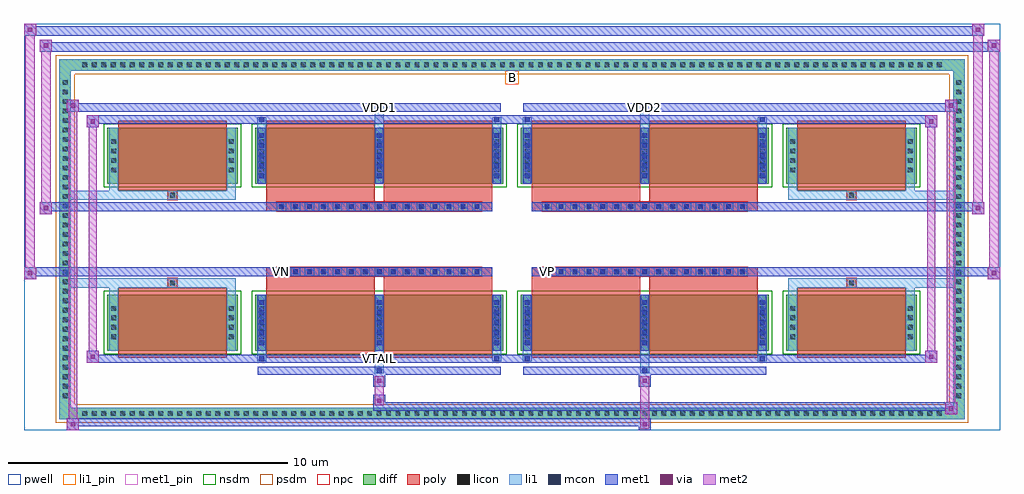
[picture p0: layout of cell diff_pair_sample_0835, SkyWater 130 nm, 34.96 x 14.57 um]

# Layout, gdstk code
import gdstk
lib = gdstk.Library(unit=1e-6, precision=5e-09)
def R(c, l, rs):  # rectangles x0, y0, x1, y1
    for r in rs: c.add(gdstk.rectangle(r[:2], r[2:], *l))
def A(c, l, x, y, w, h, nx, ny, dx, dy):  # array of equal rectangles
    R(c, l, [(x+i*dx, y+j*dy, x+i*dx+w, y+j*dy+h) for i in range(nx) for j in range(ny)])
def P(c, l, *ps):  # polygons
    for p in ps: c.add(gdstk.Polygon(p, *l))
pwell = (64, 44)
diff = (65, 20)
poly = (66, 20)
licon = (66, 44)
li1_pin = (67, 16)
li1 = (67, 20)
mcon = (67, 44)
met1_pin = (68, 16)
met1 = (68, 20)
via = (68, 44)
met2 = (69, 20)
nsdm = (93, 44)
psdm = (94, 20)
npc = (95, 20)

diff_pair_sample_0835 = lib.new_cell('diff_pair_sample_0835')
R(diff_pair_sample_0835, pwell, [(-17.48,-6.85,17.48,7.72), (-14.8,-5.04,-0.01,-0.8), (0.01,-5.04,14.8,-0.8), (-14.8,0.8,-0.01,5.04), (0.01,0.8,14.8,5.04)])
A(diff_pair_sample_0835, diff, -15.505, -6.45, 0.41, 0.41, 91, 2, 0.34, 12.49)
A(diff_pair_sample_0835, diff, -16.21, -5.815, 0.41, 0.41, 1, 34, 0, 0.34)
A(diff_pair_sample_0835, diff, 15.8, -5.815, 0.41, 0.41, 1, 34, 0, 0.34)
R(diff_pair_sample_0835, diff, [(-15.505,-6.45,15.505,-6.04), (-16.21,-5.815,-15.8,5.815), (15.8,-5.815,16.21,5.815), (-14.49,-3.995,-9.83,-1.985), (-9.19,-3.995,-0.32,-1.985), (0.32,-3.995,9.19,-1.985), (9.83,-3.995,14.49,-1.985), (-14.49,1.985,-9.83,3.995), (-9.19,1.985,-0.32,3.995), (0.32,1.985,9.19,3.995), (9.83,1.985,14.49,3.995), (-15.505,6.04,15.505,6.45)])
P(diff_pair_sample_0835, diff, [(16.21,6.45),(-16.21,6.45),(-16.21,-6.04),(-15.8,-6.04),(-15.8,6.04),(15.8,6.04),(15.8,-6.04),(-15.8,-6.04),(-16.21,-6.04),(-16.21,-6.45),(16.21,-6.45)])
A(diff_pair_sample_0835, poly, -8.42, -1.33, 0.33, 0.33, 15, 2, 0.5, 2.33)
A(diff_pair_sample_0835, poly, 1.09, -1.33, 0.33, 0.33, 15, 2, 0.5, 2.33)
R(diff_pair_sample_0835, poly, [(-14.1,-4.245,-10.22,-1.735), (-8.8,-4.245,-4.92,-1.735), (-4.59,-4.245,-0.71,-1.735), (0.71,-4.245,4.59,-1.735), (4.92,-4.245,8.8,-1.735), (10.22,-4.245,14.1,-1.735), (-12.325,-1.735,-11.995,-1.405), (-12.325,-1.735,-11.995,-1.405), (-8.8,-1.735,-4.92,-1.33), (-4.59,-1.735,-0.71,-1.33), (0.71,-1.735,4.59,-1.33), (4.92,-1.735,8.8,-1.33), (11.995,-1.735,12.325,-1.405), (11.995,-1.735,12.325,-1.405), (-8.8,-1.33,-0.71,-1), (0.71,-1.33,8.8,-1), (-8.8,1,-0.71,1.33), (0.71,1,8.8,1.33), (-8.8,1.33,-4.92,1.735), (-4.59,1.33,-0.71,1.735), (0.71,1.33,4.59,1.735), (4.92,1.33,8.8,1.735), (-12.325,1.405,-11.995,1.735), (-12.325,1.405,-11.995,1.735), (11.995,1.405,12.325,1.735), (11.995,1.405,12.325,1.735), (-14.1,1.735,-10.22,4.245), (-8.8,1.735,-4.92,4.245), (-4.59,1.735,-0.71,4.245), (0.71,1.735,4.59,4.245), (4.92,1.735,8.8,4.245), (10.22,1.735,14.1,4.245)])
A(diff_pair_sample_0835, licon, -15.385, -6.33, 0.17, 0.17, 91, 2, 0.34, 12.49)
A(diff_pair_sample_0835, licon, -16.09, -5.695, 0.17, 0.17, 1, 34, 0, 0.34)
A(diff_pair_sample_0835, licon, 15.92, -5.695, 0.17, 0.17, 1, 34, 0, 0.34)
A(diff_pair_sample_0835, licon, -14.35, -3.585, 0.17, 0.17, 1, 4, 0, 0.34)
A(diff_pair_sample_0835, licon, -10.14, -3.585, 0.17, 0.17, 1, 4, 0, 0.34)
A(diff_pair_sample_0835, licon, -9.05, -3.585, 0.17, 0.17, 3, 4, 4.21, 0.34)
A(diff_pair_sample_0835, licon, 0.46, -3.585, 0.17, 0.17, 3, 4, 4.21, 0.34)
A(diff_pair_sample_0835, licon, 9.97, -3.585, 0.17, 0.17, 1, 4, 0, 0.34)
A(diff_pair_sample_0835, licon, 14.18, -3.585, 0.17, 0.17, 1, 4, 0, 0.34)
A(diff_pair_sample_0835, licon, -8.34, -1.25, 0.17, 0.17, 15, 2, 0.5, 2.33)
A(diff_pair_sample_0835, licon, 1.17, -1.25, 0.17, 0.17, 15, 2, 0.5, 2.33)
A(diff_pair_sample_0835, licon, -14.35, 2.395, 0.17, 0.17, 1, 4, 0, 0.34)
A(diff_pair_sample_0835, licon, -10.14, 2.395, 0.17, 0.17, 1, 4, 0, 0.34)
A(diff_pair_sample_0835, licon, -9.05, 2.395, 0.17, 0.17, 3, 4, 4.21, 0.34)
A(diff_pair_sample_0835, licon, 0.46, 2.395, 0.17, 0.17, 3, 4, 4.21, 0.34)
A(diff_pair_sample_0835, licon, 9.97, 2.395, 0.17, 0.17, 1, 4, 0, 0.34)
A(diff_pair_sample_0835, licon, 14.18, 2.395, 0.17, 0.17, 1, 4, 0, 0.34)
R(diff_pair_sample_0835, licon, [(-12.245,-1.655,-12.075,-1.485), (12.075,-1.655,12.245,-1.485), (-12.245,1.485,-12.075,1.655), (12.075,1.485,12.245,1.655)])
R(diff_pair_sample_0835, li1_pin, [(-0.25,5.54,0.25,6.04)])
A(diff_pair_sample_0835, li1, -15.465, -6.41, 0.33, 0.33, 91, 2, 0.34, 12.49)
A(diff_pair_sample_0835, li1, -16.17, -5.775, 0.33, 0.33, 1, 34, 0, 0.34)
A(diff_pair_sample_0835, li1, 15.84, -5.775, 0.33, 0.33, 1, 34, 0, 0.34)
A(diff_pair_sample_0835, li1, -9.13, -3.995, 0.33, 2.01, 3, 2, 4.21, 5.98)
A(diff_pair_sample_0835, li1, 0.38, -3.995, 0.33, 2.01, 3, 2, 4.21, 5.98)
A(diff_pair_sample_0835, li1, -9.05, -3.795, 0.17, 0.17, 3, 5, 4.21, 0.36)
A(diff_pair_sample_0835, li1, -9.05, -3.795, 0.17, 1.61, 3, 2, 4.21, 5.98)
A(diff_pair_sample_0835, li1, 0.46, -3.795, 0.17, 0.17, 3, 5, 4.21, 0.36)
A(diff_pair_sample_0835, li1, 0.46, -3.795, 0.17, 1.61, 3, 2, 4.21, 5.98)
A(diff_pair_sample_0835, li1, -14.43, -3.665, 0.33, 0.33, 1, 4, 0, 0.34)
A(diff_pair_sample_0835, li1, -10.22, -3.665, 0.33, 0.33, 1, 4, 0, 0.34)
A(diff_pair_sample_0835, li1, -9.13, -3.665, 0.33, 0.33, 3, 4, 4.21, 0.34)
A(diff_pair_sample_0835, li1, 0.38, -3.665, 0.33, 0.33, 3, 4, 4.21, 0.34)
A(diff_pair_sample_0835, li1, 9.89, -3.665, 0.33, 0.33, 1, 4, 0, 0.34)
A(diff_pair_sample_0835, li1, 14.1, -3.665, 0.33, 0.33, 1, 4, 0, 0.34)
A(diff_pair_sample_0835, li1, -8.42, -1.33, 0.33, 0.33, 15, 2, 0.5, 2.33)
A(diff_pair_sample_0835, li1, 1.09, -1.33, 0.33, 0.33, 15, 2, 0.5, 2.33)
A(diff_pair_sample_0835, li1, -9.05, 2.185, 0.17, 0.17, 3, 5, 4.21, 0.36)
A(diff_pair_sample_0835, li1, 0.46, 2.185, 0.17, 0.17, 3, 5, 4.21, 0.36)
A(diff_pair_sample_0835, li1, -14.43, 2.315, 0.33, 0.33, 1, 4, 0, 0.34)
A(diff_pair_sample_0835, li1, -10.22, 2.315, 0.33, 0.33, 1, 4, 0, 0.34)
A(diff_pair_sample_0835, li1, -9.13, 2.315, 0.33, 0.33, 3, 4, 4.21, 0.34)
A(diff_pair_sample_0835, li1, 0.38, 2.315, 0.33, 0.33, 3, 4, 4.21, 0.34)
A(diff_pair_sample_0835, li1, 9.89, 2.315, 0.33, 0.33, 1, 4, 0, 0.34)
A(diff_pair_sample_0835, li1, 14.1, 2.315, 0.33, 0.33, 1, 4, 0, 0.34)
R(diff_pair_sample_0835, li1, [(-16.21,-6.45,-15.8,-6.04), (-16.21,-6.45,-15.8,-6.04), (-15.8,-6.45,15.8,-6.04), (15.8,-6.45,16.21,-6.04), (15.8,-6.45,16.21,-6.04), (-16.21,-6.04,-15.8,6.04), (15.8,-6.04,16.21,6.04), (-4.92,-4.8,-4.59,-3.995), (-4.84,-4.8,-4.67,-4.63), (4.59,-4.8,4.92,-3.995), (4.67,-4.8,4.84,-4.63), (-9.13,-4.37,-8.8,-3.995), (-9.05,-4.37,-8.88,-4.2), (-0.71,-4.37,-0.38,-3.995), (-0.63,-4.37,-0.46,-4.2), (0.38,-4.37,0.71,-3.995), (0.46,-4.37,0.63,-4.2), (8.8,-4.37,9.13,-3.995), (8.88,-4.37,9.05,-4.2), (-14.43,-3.995,-14.1,-1.985), (-10.22,-3.995,-9.89,-1.985), (9.89,-3.995,10.22,-1.985), (14.1,-3.995,14.43,-1.985), (-14.43,-1.985,-14.1,-1.405), (-10.22,-1.985,-9.89,-1.405), (9.89,-1.985,10.22,-1.405), (14.1,-1.985,14.43,-1.405), (-16.21,-1.735,-12.325,-1.405), (-14.43,-1.735,-12.325,-1.405), (-12.325,-1.735,-11.995,-1.405), (-11.995,-1.735,-9.89,-1.405), (9.89,-1.735,11.995,-1.405), (11.995,-1.735,12.325,-1.405), (11.995,-1.735,16.21,-1.405), (12.325,-1.735,14.43,-1.405), (-16.21,1.405,-12.325,1.735), (-14.43,1.405,-12.325,1.735), (-14.43,1.405,-14.1,1.985), (-12.325,1.405,-11.995,1.735), (-11.995,1.405,-9.89,1.735), (-10.22,1.405,-9.89,1.985), (9.89,1.405,11.995,1.735), (9.89,1.405,10.22,1.985), (11.995,1.405,12.325,1.735), (11.995,1.405,16.21,1.735), (12.325,1.405,14.43,1.735), (14.1,1.405,14.43,1.985), (-14.43,1.985,-14.1,3.995), (-10.22,1.985,-9.89,3.995), (9.89,1.985,10.22,3.995), (14.1,1.985,14.43,3.995), (-9.13,3.995,-8.8,4.37), (-4.92,3.995,-4.59,4.8), (-0.71,3.995,-0.38,4.37), (0.38,3.995,0.71,4.37), (4.59,3.995,4.92,4.8), (8.8,3.995,9.13,4.37), (-9.05,4.2,-8.88,4.37), (-0.63,4.2,-0.46,4.37), (0.46,4.2,0.63,4.37), (8.88,4.2,9.05,4.37), (-4.84,4.63,-4.67,4.8), (4.67,4.63,4.84,4.8), (-16.21,6.04,-15.8,6.45), (-16.21,6.04,-15.8,6.45), (-15.8,6.04,15.8,6.45), (15.8,6.04,16.21,6.45), (15.8,6.04,16.21,6.45)])
A(diff_pair_sample_0835, mcon, -9.05, -3.795, 0.17, 0.17, 3, 5, 4.21, 0.36)
A(diff_pair_sample_0835, mcon, 0.46, -3.795, 0.17, 0.17, 3, 5, 4.21, 0.36)
A(diff_pair_sample_0835, mcon, -8.34, -1.25, 0.17, 0.17, 15, 2, 0.5, 2.33)
A(diff_pair_sample_0835, mcon, 1.17, -1.25, 0.17, 0.17, 15, 2, 0.5, 2.33)
A(diff_pair_sample_0835, mcon, -9.05, 2.185, 0.17, 0.17, 3, 5, 4.21, 0.36)
A(diff_pair_sample_0835, mcon, 0.46, 2.185, 0.17, 0.17, 3, 5, 4.21, 0.36)
R(diff_pair_sample_0835, mcon, [(-4.84,-4.8,-4.67,-4.63), (4.67,-4.8,4.84,-4.63), (-9.05,-4.37,-8.88,-4.2), (-0.63,-4.37,-0.46,-4.2), (0.46,-4.37,0.63,-4.2), (8.88,-4.37,9.05,-4.2), (-9.05,4.2,-8.88,4.37), (-0.63,4.2,-0.46,4.37), (0.46,4.2,0.63,4.37), (8.88,4.2,9.05,4.37), (-4.84,4.63,-4.67,4.8), (4.67,4.63,4.84,4.8)])
R(diff_pair_sample_0835, met1_pin, [(-4.89,-4.41,-4.62,-4.14), (-8.39,-1.29,-8.12,-1.02), (1.12,-1.29,1.39,-1.02), (-4.89,4.59,-4.62,4.86), (4.62,4.59,4.89,4.86)])
A(diff_pair_sample_0835, met1, -9.11, -3.995, 0.29, 2.01, 3, 2, 4.21, 5.98)
A(diff_pair_sample_0835, met1, 0.4, -3.995, 0.29, 2.01, 3, 2, 4.21, 5.98)
A(diff_pair_sample_0835, met1, -9.11, -3.855, 0.29, 0.29, 3, 5, 4.21, 0.36)
A(diff_pair_sample_0835, met1, 0.4, -3.855, 0.29, 0.29, 3, 5, 4.21, 0.36)
A(diff_pair_sample_0835, met1, -8.4, -1.31, 0.29, 0.29, 15, 2, 0.5, 2.33)
A(diff_pair_sample_0835, met1, 1.11, -1.31, 0.29, 0.29, 15, 2, 0.5, 2.33)
A(diff_pair_sample_0835, met1, -9.11, 2.125, 0.29, 0.29, 3, 5, 4.21, 0.36)
A(diff_pair_sample_0835, met1, 0.4, 2.125, 0.29, 0.29, 3, 5, 4.21, 0.36)
R(diff_pair_sample_0835, met1, [(-15.94,-6.85,-15.51,-6.42), (4.54,-6.85,4.97,-6.42), (-15.94,-6.71,4.97,-6.42), (15.51,-6.28,15.94,-5.85), (-4.97,-6.14,15.94,-5.85), (-4.97,-6,-4.54,-5.57), (-4.97,-5.29,-4.54,-4.86), (4.54,-5.29,4.97,-4.86), (-9.11,-4.86,-0.4,-4.57), (-4.9,-4.86,-4.61,-4.57), (0.4,-4.86,9.11,-4.57), (4.61,-4.86,4.9,-4.57), (-15.23,-4.43,-14.8,-4), (-15.23,-4.43,-9.11,-4.14), (-9.11,-4.43,-8.82,-4.14), (-9.11,-4.43,-0.4,-4.14), (-0.69,-4.43,-0.4,-4.14), (-0.4,-4.43,0.4,-4.14), (0.4,-4.43,0.69,-4.14), (0.4,-4.43,9.11,-4.14), (8.82,-4.43,9.11,-4.14), (9.11,-4.43,15.23,-4.14), (14.8,-4.43,15.23,-4), (-17.48,-1.43,-17.05,-1), (17.05,-1.43,17.48,-1), (-17.48,-1.33,-0.71,-1), (-8.8,-1.33,-0.71,-1), (0.71,-1.33,8.8,-1), (0.71,-1.33,17.48,-1), (-16.91,0.9,-16.48,1.33), (16.48,0.9,16.91,1.33), (-16.91,1,-8.8,1.33), (-8.8,1,-0.71,1.33), (0.71,1,8.8,1.33), (8.8,1,16.91,1.33), (-15.23,4,-14.8,4.43), (14.8,4,15.23,4.43), (-15.23,4.14,-9.11,4.43), (-9.11,4.14,-8.82,4.43), (-9.11,4.14,-0.4,4.43), (-0.69,4.14,-0.4,4.43), (-0.4,4.14,0.4,4.43), (0.4,4.14,0.69,4.43), (0.4,4.14,9.11,4.43), (8.82,4.14,9.11,4.43), (9.11,4.14,15.23,4.43), (-15.94,4.57,-15.51,5), (-15.94,4.57,-9.11,4.86), (-9.11,4.57,-0.4,4.86), (-4.9,4.57,-4.61,4.86), (0.4,4.57,9.11,4.86), (4.61,4.57,4.9,4.86), (9.11,4.57,15.94,4.86), (15.51,4.57,15.94,5), (-16.91,6.72,-16.48,7.15), (-16.91,6.72,-14.8,7.05), (-14.8,6.72,14.8,7.05), (14.8,6.72,17.48,7.05), (17.05,6.72,17.48,7.15), (-17.48,7.29,-17.05,7.72), (-17.48,7.29,-14.8,7.62), (-14.8,7.29,14.8,7.62), (14.8,7.29,16.91,7.62), (16.48,7.29,16.91,7.72)])
R(diff_pair_sample_0835, via, [(-15.8,-6.71,-15.65,-6.56), (4.68,-6.71,4.83,-6.56), (15.65,-6.14,15.8,-5.99), (-4.83,-5.86,-4.68,-5.71), (-4.83,-5.15,-4.68,-5), (4.68,-5.15,4.83,-5), (-15.09,-4.29,-14.94,-4.14), (14.94,-4.29,15.09,-4.14), (-17.34,-1.29,-17.19,-1.14), (17.19,-1.29,17.34,-1.14), (-16.77,1.04,-16.62,1.19), (16.62,1.04,16.77,1.19), (-15.09,4.14,-14.94,4.29), (14.94,4.14,15.09,4.29), (-15.8,4.71,-15.65,4.86), (15.65,4.71,15.8,4.86), (-16.77,6.86,-16.62,7.01), (17.19,6.86,17.34,7.01), (-17.34,7.43,-17.19,7.58), (16.62,7.43,16.77,7.58)])
R(diff_pair_sample_0835, met2, [(-15.94,-6.85,-15.51,-6.42), (-15.87,-6.85,-15.58,5), (-15.58,-6.85,-15.51,-6.42), (-15.89,-6.8,-15.56,-6.47), (4.59,-6.8,4.92,-6.47), (4.59,-6.47,4.92,-5.24), (15.51,-6.28,15.94,-5.85), (15.58,-6.28,15.87,5), (15.87,-6.28,15.94,-5.85), (15.56,-6.23,15.89,-5.9), (-4.92,-5.95,-4.59,-5.62), (-4.92,-5.62,-4.59,-5.24), (-4.92,-5.24,-4.59,-4.91), (4.59,-5.24,4.92,-4.91), (-15.23,-4.43,-14.8,-4), (-15.16,-4.43,-14.87,4.43), (-14.87,-4.43,-14.8,-4), (14.8,-4.43,15.23,-4), (14.87,-4.43,15.16,4.43), (15.16,-4.43,15.23,-4), (-15.18,-4.38,-14.85,-4.05), (14.85,-4.38,15.18,-4.05), (-17.48,-1.43,-17.05,-1), (-17.43,-1.43,-17.1,7.72), (-17.1,-1.43,-17.05,-1), (17.05,-1.43,17.48,-1), (17.1,-1.43,17.43,7.15), (17.43,-1.43,17.48,-1), (-17.43,-1.38,-17.1,-1.05), (17.1,-1.38,17.43,-1.05), (-16.91,0.9,-16.48,1.33), (-16.86,0.9,-16.53,7.15), (-16.53,0.9,-16.48,1.33), (16.48,0.9,16.91,1.33), (16.53,0.9,16.86,7.72), (16.86,0.9,16.91,1.33), (-16.86,0.95,-16.53,1.28), (16.53,0.95,16.86,1.28), (-15.23,4,-14.8,4.43), (-14.87,4,-14.8,4.43), (14.8,4,15.23,4.43), (15.16,4,15.23,4.43), (-15.18,4.05,-14.85,4.38), (14.85,4.05,15.18,4.38), (-15.94,4.57,-15.51,5), (-15.58,4.57,-15.51,5), (15.51,4.57,15.94,5), (15.87,4.57,15.94,5), (-15.89,4.62,-15.56,4.95), (15.56,4.62,15.89,4.95), (-16.91,6.72,-16.48,7.15), (-16.53,6.72,-16.48,7.15), (17.05,6.72,17.48,7.15), (17.43,6.72,17.48,7.15), (-16.86,6.77,-16.53,7.1), (17.1,6.77,17.43,7.1), (-17.48,7.29,-17.05,7.72), (-17.1,7.29,-17.05,7.72), (16.48,7.29,16.91,7.72), (16.86,7.29,16.91,7.72), (-17.43,7.34,-17.1,7.67), (16.53,7.34,16.86,7.67)])
R(diff_pair_sample_0835, nsdm, [(-14.62,-4.125,-9.7,-1.855), (-9.32,-4.125,-0.19,-1.855), (0.19,-4.125,9.32,-1.855), (9.7,-4.125,14.62,-1.855), (-14.62,1.855,-9.7,4.125), (-9.32,1.855,-0.19,4.125), (0.19,1.855,9.32,4.125), (9.7,1.855,14.62,4.125)])
P(diff_pair_sample_0835, psdm, [(16.34,6.58),(-16.34,6.58),(-16.34,-5.91),(-15.67,-5.91),(-15.67,5.91),(15.67,5.91),(15.67,-5.91),(-15.67,-5.91),(-16.34,-5.91),(-16.34,-6.58),(16.34,-6.58)])
A(diff_pair_sample_0835, npc, -8.44, -1.35, 0.37, 0.37, 15, 2, 0.5, 2.33)
A(diff_pair_sample_0835, npc, 1.07, -1.35, 0.37, 0.37, 15, 2, 0.5, 2.33)
R(diff_pair_sample_0835, npc, [(-12.345,-1.755,-11.975,-1.385), (11.975,-1.755,12.345,-1.385), (-8.44,-1.35,-7.57,-0.98), (-8.44,-1.35,-7.57,-0.98), (-7.94,-1.35,-7.07,-0.98), (-7.94,-1.35,-7.07,-0.98), (-7.44,-1.35,-6.57,-0.98), (-7.44,-1.35,-6.57,-0.98), (-6.94,-1.35,-6.07,-0.98), (-6.94,-1.35,-6.07,-0.98), (-6.44,-1.35,-5.57,-0.98), (-6.44,-1.35,-5.57,-0.98), (-5.94,-1.35,-5.07,-0.98), (-5.94,-1.35,-5.07,-0.98), (-5.44,-1.35,-4.57,-0.98), (-5.44,-1.35,-4.57,-0.98), (-4.94,-1.35,-4.07,-0.98), (-4.94,-1.35,-4.07,-0.98), (-4.44,-1.35,-3.57,-0.98), (-4.44,-1.35,-3.57,-0.98), (-3.94,-1.35,-3.07,-0.98), (-3.94,-1.35,-3.07,-0.98), (-3.44,-1.35,-2.57,-0.98), (-3.44,-1.35,-2.57,-0.98), (-2.94,-1.35,-2.07,-0.98), (-2.94,-1.35,-2.07,-0.98), (-2.44,-1.35,-1.57,-0.98), (-2.44,-1.35,-1.57,-0.98), (-1.94,-1.35,-1.07,-0.98), (-1.94,-1.35,-1.07,-0.98), (1.07,-1.35,1.94,-0.98), (1.07,-1.35,1.94,-0.98), (1.57,-1.35,2.44,-0.98), (1.57,-1.35,2.44,-0.98), (2.07,-1.35,2.94,-0.98), (2.07,-1.35,2.94,-0.98), (2.57,-1.35,3.44,-0.98), (2.57,-1.35,3.44,-0.98), (3.07,-1.35,3.94,-0.98), (3.07,-1.35,3.94,-0.98), (3.57,-1.35,4.44,-0.98), (3.57,-1.35,4.44,-0.98), (4.07,-1.35,4.94,-0.98), (4.07,-1.35,4.94,-0.98), (4.57,-1.35,5.44,-0.98), (4.57,-1.35,5.44,-0.98), (5.07,-1.35,5.94,-0.98), (5.07,-1.35,5.94,-0.98), (5.57,-1.35,6.44,-0.98), (5.57,-1.35,6.44,-0.98), (6.07,-1.35,6.94,-0.98), (6.07,-1.35,6.94,-0.98), (6.57,-1.35,7.44,-0.98), (6.57,-1.35,7.44,-0.98), (7.07,-1.35,7.94,-0.98), (7.07,-1.35,7.94,-0.98), (7.57,-1.35,8.44,-0.98), (7.57,-1.35,8.44,-0.98), (-8.44,0.98,-7.57,1.35), (-8.44,0.98,-7.57,1.35), (-7.94,0.98,-7.07,1.35), (-7.94,0.98,-7.07,1.35), (-7.44,0.98,-6.57,1.35), (-7.44,0.98,-6.57,1.35), (-6.94,0.98,-6.07,1.35), (-6.94,0.98,-6.07,1.35), (-6.44,0.98,-5.57,1.35), (-6.44,0.98,-5.57,1.35), (-5.94,0.98,-5.07,1.35), (-5.94,0.98,-5.07,1.35), (-5.44,0.98,-4.57,1.35), (-5.44,0.98,-4.57,1.35), (-4.94,0.98,-4.07,1.35), (-4.94,0.98,-4.07,1.35), (-4.44,0.98,-3.57,1.35), (-4.44,0.98,-3.57,1.35), (-3.94,0.98,-3.07,1.35), (-3.94,0.98,-3.07,1.35), (-3.44,0.98,-2.57,1.35), (-3.44,0.98,-2.57,1.35), (-2.94,0.98,-2.07,1.35), (-2.94,0.98,-2.07,1.35), (-2.44,0.98,-1.57,1.35), (-2.44,0.98,-1.57,1.35), (-1.94,0.98,-1.07,1.35), (-1.94,0.98,-1.07,1.35), (1.07,0.98,1.94,1.35), (1.07,0.98,1.94,1.35), (1.57,0.98,2.44,1.35), (1.57,0.98,2.44,1.35), (2.07,0.98,2.94,1.35), (2.07,0.98,2.94,1.35), (2.57,0.98,3.44,1.35), (2.57,0.98,3.44,1.35), (3.07,0.98,3.94,1.35), (3.07,0.98,3.94,1.35), (3.57,0.98,4.44,1.35), (3.57,0.98,4.44,1.35), (4.07,0.98,4.94,1.35), (4.07,0.98,4.94,1.35), (4.57,0.98,5.44,1.35), (4.57,0.98,5.44,1.35), (5.07,0.98,5.94,1.35), (5.07,0.98,5.94,1.35), (5.57,0.98,6.44,1.35), (5.57,0.98,6.44,1.35), (6.07,0.98,6.94,1.35), (6.07,0.98,6.94,1.35), (6.57,0.98,7.44,1.35), (6.57,0.98,7.44,1.35), (7.07,0.98,7.94,1.35), (7.07,0.98,7.94,1.35), (7.57,0.98,8.44,1.35), (7.57,0.98,8.44,1.35), (-12.345,1.385,-11.975,1.755), (11.975,1.385,12.345,1.755)])
diff_pair_sample_0835.add(gdstk.Label('VTAIL', (-4.755,-4.275), layer=68, texttype=5))
diff_pair_sample_0835.add(gdstk.Label('VN', (-8.255,-1.155), layer=68, texttype=5))
diff_pair_sample_0835.add(gdstk.Label('VP', (1.255,-1.155), layer=68, texttype=5))
diff_pair_sample_0835.add(gdstk.Label('B', (0,5.79), layer=67, texttype=5))
diff_pair_sample_0835.add(gdstk.Label('VDD2', (4.755,4.725), layer=68, texttype=5))
diff_pair_sample_0835.add(gdstk.Label('VDD1', (-4.755,4.725), layer=68, texttype=5))

lib.write_gds('diff_pair_sample_0835.gds')
